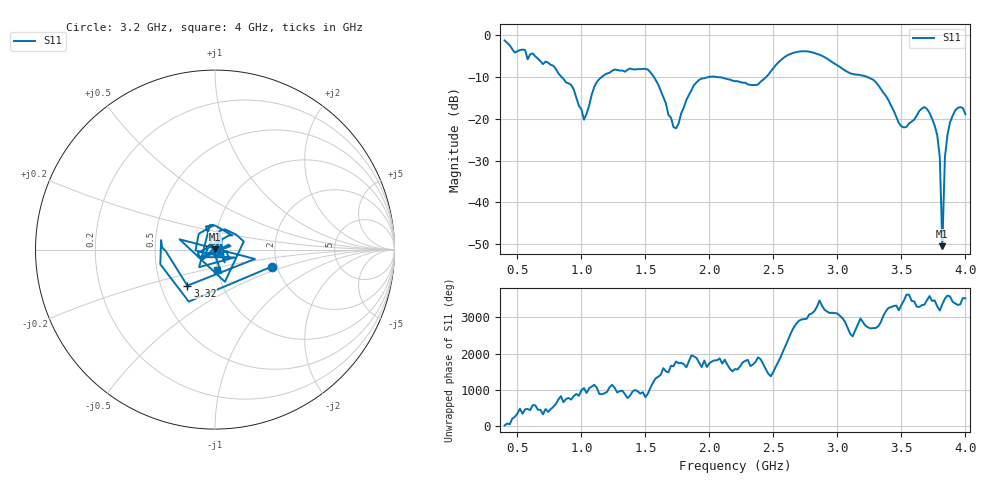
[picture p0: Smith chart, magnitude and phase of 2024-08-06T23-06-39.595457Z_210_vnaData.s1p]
!Created with skrf (http://scikit-rf.org).
# Hz S RI R 50.0
!freq ReS11 ImS11
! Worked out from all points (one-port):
!   181 points, 400 MHz to 4 GHz, reference 50 ohm
!   lowest |S11| = -50.5 dB at 3.82 GHz (marker M1), VSWR 1.01, Z = 49.9 + j0.268 ohm
!   |S11| at or under -10 dB: 1.567 GHz to 1.988 GHz (420.7 MHz wide, 23.7 % of centre); 2.073 GHz to 2.441 GHz (368.3 MHz wide, 16.3 % of centre); 3.238 GHz to end of sweep (the widest 3 of 4)
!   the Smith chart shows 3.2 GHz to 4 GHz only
!   S11 on the Smith chart (normalised r, x): 3.2 GHz: 1.87, -0.40; 3.32 GHz: 0.68, -0.29; 4 GHz: 1.00, -0.23
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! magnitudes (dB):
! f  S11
! 400 MHz  -1.2
! 860 MHz  -10.4
! 940 MHz  -12.9
! 1.02 GHz  -20.2
! 1.12 GHz  -11.2
! 1.3 GHz  -8.4
! 1.52 GHz  -8.2
! 1.6 GHz  -11.8
! 1.72 GHz  -22.0
! 1.76 GHz  -21.0
! 1.92 GHz  -10.6
! 2.2 GHz  -11.0
! 2.38 GHz  -11.8
! 2.66 GHz  -4.1
! 2.86 GHz  -4.6
! 3.1 GHz  -9.1
! 3.2 GHz  -9.6
! 3.32 GHz  -11.9
! 3.5 GHz  -21.8
! 3.56 GHz  -21.1
! 3.68 GHz  -17.2
! 3.76 GHz  -21.6
! 3.8 GHz  -29.2
! 3.82 GHz  -50.5
! 3.84 GHz  -29.1
! 3.86 GHz  -23.8
! 3.92 GHz  -18.0
! 4 GHz  -18.8
